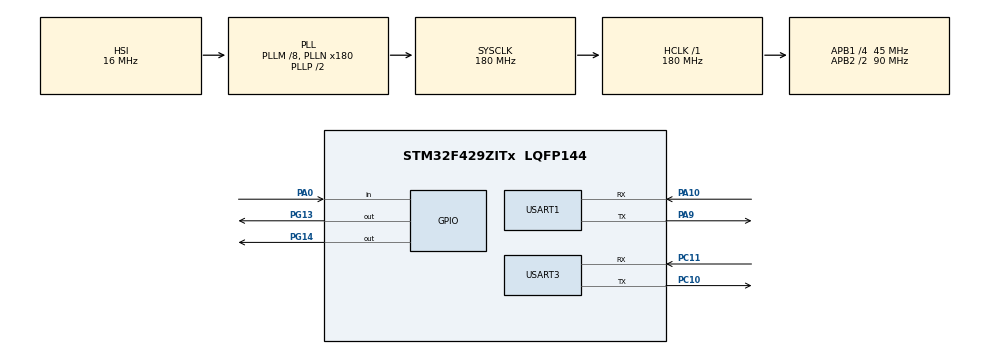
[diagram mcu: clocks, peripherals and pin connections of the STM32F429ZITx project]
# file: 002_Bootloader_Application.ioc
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Mcu.Family=STM32F4
Mcu.Name=STM32F429ZITx
Mcu.Package=LQFP144
NVIC.PriorityGroup=NVIC_PRIORITYGROUP_0
PA0/WKUP.GPIO_PuPd=GPIO_PULLDOWN
PA0/WKUP.Signal=GPIO_Input
PA10.Mode=Asynchronous
PA10.Signal=USART1_RX
PA9.Mode=Asynchronous
PA9.Signal=USART1_TX
PC10.Mode=Asynchronous
PC10.Signal=USART3_TX
PC11.Mode=Asynchronous
PC11.Signal=USART3_RX
PG13.Signal=GPIO_Output
PG14.Signal=GPIO_Output
ProjectManager.HeapSize=0x200
ProjectManager.StackSize=0x400
ProjectManager.TargetToolchain=STM32CubeIDE
RCC.48MHZClocksFreq_Value=51428571.428571425
RCC.AHBFreq_Value=180000000
RCC.APB1CLKDivider=RCC_HCLK_DIV4
RCC.APB1Freq_Value=45000000
RCC.APB1TimFreq_Value=90000000
RCC.APB2CLKDivider=RCC_HCLK_DIV2
RCC.APB2Freq_Value=90000000
RCC.APB2TimFreq_Value=180000000
RCC.CortexFreq_Value=180000000
RCC.HCLKFreq_Value=180000000
RCC.HSE_VALUE=8000000
RCC.HSI_VALUE=16000000
RCC.LSE_VALUE=32768
RCC.PLLM=8
RCC.PLLN=180
RCC.PLLQ=7
RCC.SYSCLKFreq_VALUE=180000000
RCC.SYSCLKSource=RCC_SYSCLKSOURCE_PLLCLK
RCC.VCOOutputFreq_Value=360000000
USART1.VirtualMode=VM_ASYNC
USART3.VirtualMode=VM_ASYNC
VP_CRC_VS_CRC.Mode=CRC_Activate
board=STM32F429I-DISC1

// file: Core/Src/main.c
/* USER CODE BEGIN Header */
/**
  ******************************************************************************
  * @file           : main.c
  * @brief          : Main program body
  ******************************************************************************
  * @attention
  *
  * Copyright (c) 2023 STMicroelectronics.
  * All rights reserved.
  *
  * This software is licensed under terms that can be found in the LICENSE file
  * in the root directory of this software component.
  * If no LICENSE file comes with this software, it is provided AS-IS.
  *
  ******************************************************************************
  */
/* USER CODE END Header */
#include "main.h"

/* USER CODE BEGIN Includes */
#include "stdio.h"
#include "stdarg.h"
#include "string.h"
#include "bootloader_command_code.h"
#include "bootloader_command_app.h"
/* USER CODE END Includes */

/* USER CODE BEGIN PD */
#define DEBUG_UART &huart3
#define FLASH_SECTOR2_BASE_ADDRESS 0x08000000
#define BL_RX_DATA_LENGTH 266
/* USER CODE END PD */

CRC_HandleTypeDef hcrc;

UART_HandleTypeDef huart1;
UART_HandleTypeDef huart3;

/* USER CODE BEGIN PV */
uint8_t bootloader_rx_data[BL_RX_DATA_LENGTH];
/* USER CODE END PV */

void SystemClock_Config(void);
static void MX_GPIO_Init(void);
static void MX_USART1_UART_Init(void);
static void MX_USART3_UART_Init(void);
static void MX_CRC_Init(void);
/* USER CODE BEGIN PFP */
void printMessage(void *msg,...);
void bootloader_uart_data_read(void);
void bootloader_jump_to_user_app(void);

/* USER CODE END PFP */

int main(void)
{

  /* MCU Configuration--------------------------------------------------------*/

  /* Reset of all peripherals, Initializes the Flash interface and the Systick. */
  HAL_Init();

  /* Configure the system clock */
  SystemClock_Config();

  /* Initialize all configured peripherals */
  MX_GPIO_Init();
  MX_USART1_UART_Init();
  MX_USART3_UART_Init();
  MX_CRC_Init();
  /* USER CODE BEGIN 2 */
  if(HAL_GPIO_ReadPin(GPIOA,GPIO_PIN_0) == GPIO_PIN_SET)
  {
	printMessage("BL DEBUG MSG:Button is pressed and going to bootloader mode\r\n");
    bootloader_uart_data_read();

  }
  else
  {
	printMessage("BL DEBUG MSG:Button is not pressed and executing user application\r\n");
    bootloader_jump_to_user_app();

  }
  /* USER CODE END 2 */

  /* Infinite loop */
  while (1)
  {

  }
}

void SystemClock_Config(void)
{
  RCC_OscInitTypeDef RCC_OscInitStruct = {0};
  RCC_ClkInitTypeDef RCC_ClkInitStruct = {0};

  /** Configure the main internal regulator output voltage
  */
  __HAL_RCC_PWR_CLK_ENABLE();
  __HAL_PWR_VOLTAGESCALING_CONFIG(PWR_REGULATOR_VOLTAGE_SCALE1);

  /** Initializes the RCC Oscillators according to the specified parameters
  * in the RCC_OscInitTypeDef structure.
  */
  RCC_OscInitStruct.OscillatorType = RCC_OSCILLATORTYPE_HSI;
  RCC_OscInitStruct.HSIState = RCC_HSI_ON;
  RCC_OscInitStruct.HSICalibrationValue = RCC_HSICALIBRATION_DEFAULT;
  RCC_OscInitStruct.PLL.PLLState = RCC_PLL_ON;
  RCC_OscInitStruct.PLL.PLLSource = RCC_PLLSOURCE_HSI;
  RCC_OscInitStruct.PLL.PLLM = 8;
  RCC_OscInitStruct.PLL.PLLN = 180;
  RCC_OscInitStruct.PLL.PLLP = RCC_PLLP_DIV2;
  RCC_OscInitStruct.PLL.PLLQ = 7;
  if (HAL_RCC_OscConfig(&RCC_OscInitStruct) != HAL_OK)
  {
    Error_Handler();
  }

  /** Activate the Over-Drive mode
  */
  if (HAL_PWREx_EnableOverDrive() != HAL_OK)
  {
    Error_Handler();
  }

  /** Initializes the CPU, AHB and APB buses clocks
  */
  RCC_ClkInitStruct.ClockType = RCC_CLOCKTYPE_HCLK|RCC_CLOCKTYPE_SYSCLK
                              |RCC_CLOCKTYPE_PCLK1|RCC_CLOCKTYPE_PCLK2;
  RCC_ClkInitStruct.SYSCLKSource = RCC_SYSCLKSOURCE_PLLCLK;
  RCC_ClkInitStruct.AHBCLKDivider = RCC_SYSCLK_DIV1;
  RCC_ClkInitStruct.APB1CLKDivider = RCC_HCLK_DIV4;
  RCC_ClkInitStruct.APB2CLKDivider = RCC_HCLK_DIV2;

  if (HAL_RCC_ClockConfig(&RCC_ClkInitStruct, FLASH_LATENCY_5) != HAL_OK)
  {
    Error_Handler();
  }
}

static void MX_CRC_Init(void)
{

  hcrc.Instance = CRC;
  if (HAL_CRC_Init(&hcrc) != HAL_OK)
  {
    Error_Handler();
  }

}

static void MX_USART1_UART_Init(void)
{

  huart1.Instance = USART1;
  huart1.Init.BaudRate = 115200;
  huart1.Init.WordLength = UART_WORDLENGTH_8B;
  huart1.Init.StopBits = UART_STOPBITS_1;
  huart1.Init.Parity = UART_PARITY_NONE;
  huart1.Init.Mode = UART_MODE_TX_RX;
  huart1.Init.HwFlowCtl = UART_HWCONTROL_NONE;
  huart1.Init.OverSampling = UART_OVERSAMPLING_16;
  if (HAL_UART_Init(&huart1) != HAL_OK)
  {
    Error_Handler();
  }

}

static void MX_USART3_UART_Init(void)
{

  huart3.Instance = USART3;
  huart3.Init.BaudRate = 115200;
  huart3.Init.WordLength = UART_WORDLENGTH_8B;
  huart3.Init.StopBits = UART_STOPBITS_1;
  huart3.Init.Parity = UART_PARITY_NONE;
  huart3.Init.Mode = UART_MODE_TX_RX;
  huart3.Init.HwFlowCtl = UART_HWCONTROL_NONE;
  huart3.Init.OverSampling = UART_OVERSAMPLING_16;
  if (HAL_UART_Init(&huart3) != HAL_OK)
  {
    Error_Handler();
  }

}

static void MX_GPIO_Init(void)
{
  GPIO_InitTypeDef GPIO_InitStruct = {0};

  /* GPIO Ports Clock Enable */
  __HAL_RCC_GPIOA_CLK_ENABLE();
  __HAL_RCC_GPIOC_CLK_ENABLE();
  __HAL_RCC_GPIOG_CLK_ENABLE();

  /*Configure GPIO pin Output Level */
  HAL_GPIO_WritePin(GPIOG, GPIO_PIN_13|GPIO_PIN_14, GPIO_PIN_RESET);

  /*Configure GPIO pin : PA0 */
  GPIO_InitStruct.Pin = GPIO_PIN_0;
  GPIO_InitStruct.Mode = GPIO_MODE_INPUT;
  GPIO_InitStruct.Pull = GPIO_PULLDOWN;
  HAL_GPIO_Init(GPIOA, &GPIO_InitStruct);

  /*Configure GPIO pins : PG13 PG14 */
  GPIO_InitStruct.Pin = GPIO_PIN_13|GPIO_PIN_14;
  GPIO_InitStruct.Mode = GPIO_MODE_OUTPUT_PP;
  GPIO_InitStruct.Pull = GPIO_NOPULL;
  GPIO_InitStruct.Speed = GPIO_SPEED_FREQ_LOW;
  HAL_GPIO_Init(GPIOG, &GPIO_InitStruct);

}

/* USER CODE BEGIN 4 */
void printMessage(void *msg,...)
{
  char comingMessage[100];
  va_list vaList;
  va_start(vaList,msg);
  vsprintf(comingMessage,msg,vaList);
  HAL_UART_Transmit(DEBUG_UART,(uint8_t*)comingMessage,strlen(comingMessage),HAL_MAX_DELAY);
  va_end(vaList);

}
void bootloader_uart_data_read(void)
{
	//Take the command length
	  uint8_t bl_rx_length = 0;

	  while(1)
	  {
	    memset(bootloader_rx_data,0,BL_RX_DATA_LENGTH); //Reset Bootloader RX DATA

	    HAL_UART_Receive(DEBUG_UART,bootloader_rx_data,1,HAL_MAX_DELAY); //Receive Data Length

	    bl_rx_length = bootloader_rx_data[0];

	    HAL_UART_Receive(DEBUG_UART,&bootloader_rx_data[1],bl_rx_length,HAL_MAX_DELAY); //Receive Command Array
	    switch(bootloader_rx_data[1])
	    {
	    	case BL_GET_VER:
	    	{
	            bootloader_get_ver_cmd(bootloader_rx_data);
	    		break;
	    	}
	    	case BL_GET_HELP:
	    	{
	    		bootloader_get_help_cmd(bootloader_rx_data);
	    		break;
	    	}
	    	case BL_GET_CID:
	    	{
                bootloader_get_cid_cmd(bootloader_rx_data);
	    		break;
	    	}
	    	case BL_GET_RDP_STATUS:
	    	{
	    		bootloader_get_rdp_cmd(bootloader_rx_data);
	    		break;
	    	}
	    	case BL_GO_TO_ADDR:
	    	{
	    		bootloader_go_to_addr_cmd(bootloader_rx_data);
	    		break;
	    	}
	    	case BL_FLASH_ERASE:
	    	{
	    		bootloader_flash_erase_cmd(bootloader_rx_data);
	    		break;
	    	}
	    	case BL_MEM_WRITE:
	    	{
	    		bootloader_mem_write_cmd(bootloader_rx_data);
	    		break;
	    	}
	    	case BL_EN_RW_PROTECT:
	    	{
	    		bootloader_en_rw_protect_cmd(bootloader_rx_data);
	    		break;
	    	}
	    	case BL_READ_SECTOR_P_STATUS:
	    	{
	    		bl_read_sector_p_status_cmd(bootloader_rx_data);
	    		break;
	    	}
	    	case BL_DIS_R_W_PROTECT:
	    	{
	    		bootloader_dis_rw_protect_cmd(bootloader_rx_data);
	    		break;
	    	}

	    	default:
	    		break;

	    }

	  }
}
void bootloader_jump_to_user_app(void)
{
	   // 1-Create a function pointer to the reset handler
	   void (*bootloader_app_reset_handler)(void);
	   // 2-Send a message for jumping to user application
	   printMessage("BL DEBUG MSG:Bootloader_Jump_To_User_App Called\r\n");
	   // 3-Save the msp_value
	   uint32_t msp_value = *(volatile uint32_t*) FLASH_SECTOR2_BASE_ADDRESS;
	   printMessage("BL DEBUF MSG: MSP Value = %#x\r\n",msp_value);
	   __set_MSP(msp_value);
	   // 4-Save the reset handler value
	   uint32_t reset_value = *(volatile uint32_t*) (FLASH_SECTOR2_BASE_ADDRESS + 4);
	   printMessage("BL DEBUF MSG: Reset Value = %#x\r\n",reset_value);
	   //5-Start a application from reset handler
	   bootloader_app_reset_handler = (void*) reset_value;
	   //6-Call the reset handler pointer and jump to user app
	   bootloader_app_reset_handler();
	   __HAL_RCC_SYSCFG_CLK_ENABLE();

}
/* USER CODE END 4 */

void Error_Handler(void)
{
  __disable_irq();
  while (1)
  {
  }
}
